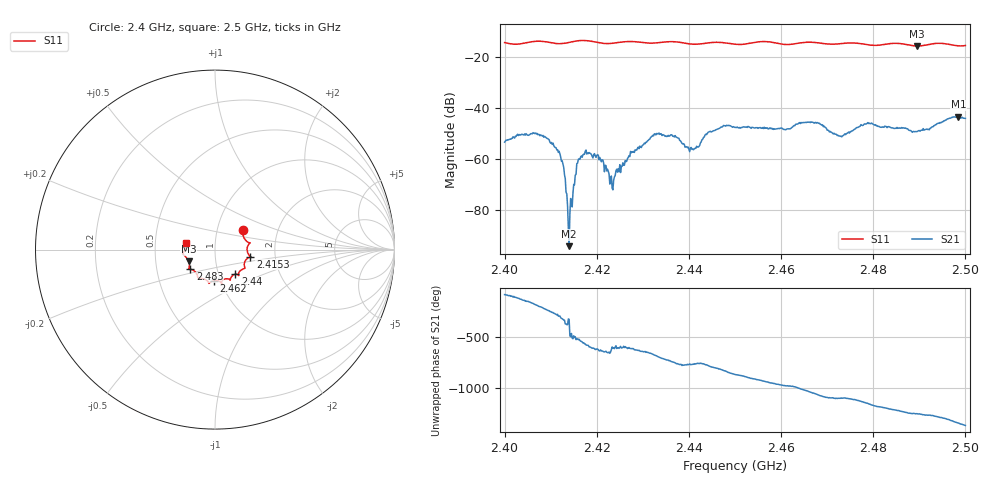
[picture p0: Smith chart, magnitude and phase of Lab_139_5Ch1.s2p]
# Hz S RI R 50
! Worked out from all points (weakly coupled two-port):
!   601 points, 2.4 GHz to 2.5 GHz, reference 50 ohm
!   highest |S21| = -43.61 dB at 2.4985 GHz (marker M1); lowest = -94.4 dB at 2.414 GHz (marker M2)
!   lowest |S11| = -15.9 dB at 2.4895 GHz (marker M3), VSWR 1.38, Z = 36.9 - j4.99 ohm
!   |S11| at or under -10 dB: start of sweep to end of sweep
!   S12 and S22 are empty: the file has one direction only
!   S11 on the Smith chart (normalised r, x): 2.4 GHz: 1.33, +0.29; 2.4153 GHz: 1.48, -0.12; 2.44 GHz: 1.20, -0.34; 2.462 GHz: 0.93, -0.33; 2.483 GHz: 0.74, -0.17; 2.5 GHz: 0.72, +0.06
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2.4e9  0.1549 0.1065  0.000223 -0.00209  0 0  0 0
2.409167e9  0.1905 0.033  -0.00147 0.00201  0 0  0 0
2.412333e9  0.179 -0.00511  0.000646 0.000605  0 0  0 0
2.414e9  0.1873 -0.0275  1.6e-05 1.05e-05  0 0  0 0
2.414333e9  0.1895 -0.0311  -0.000122 -0.000111  0 0  0 0
2.415333e9  0.1965 -0.0386  -0.000345 -0.000323  0 0  0 0
2.416667e9  0.2021 -0.0427  -0.00113 6.28e-05  0 0  0 0
2.420667e9  0.1783 -0.0506  9.85e-05 0.00104  0 0  0 0
2.423333e9  0.1629 -0.0802  -0.00014 0.000223  0 0  0 0
2.4275e9  0.1678 -0.1031  -0.000381 0.00124  0 0  0 0
2.433333e9  0.131 -0.1337  0.00274 0.00131  0 0  0 0
2.44e9  0.1138 -0.1367  0.000982 -0.00114  0 0  0 0
2.45e9  0.0646 -0.1625  -0.00343 -0.00217  0 0  0 0
2.462e9  -0.00504 -0.1733  -0.000569 0.00379  0 0  0 0
2.466667e9  -0.0341 -0.1877  0.00424 0.00293  0 0  0 0
2.472833e9  -0.0784 -0.1604  0.00252 -0.00101  0 0  0 0
2.4785e9  -0.1008 -0.1394  0.00171 -0.00447  0 0  0 0
2.483e9  -0.1378 -0.1097  -0.00199 -0.00351  0 0  0 0
2.483333e9  -0.1401 -0.1093  -0.00234 -0.00354  0 0  0 0
2.4895e9  -0.1465 -0.0658  -0.00334 -0.000454  0 0  0 0
2.4985e9  -0.1613 0.0135  -0.000706 0.00656  0 0  0 0
2.5e9  -0.1597 0.0394  0.00189 0.00582  0 0  0 0
